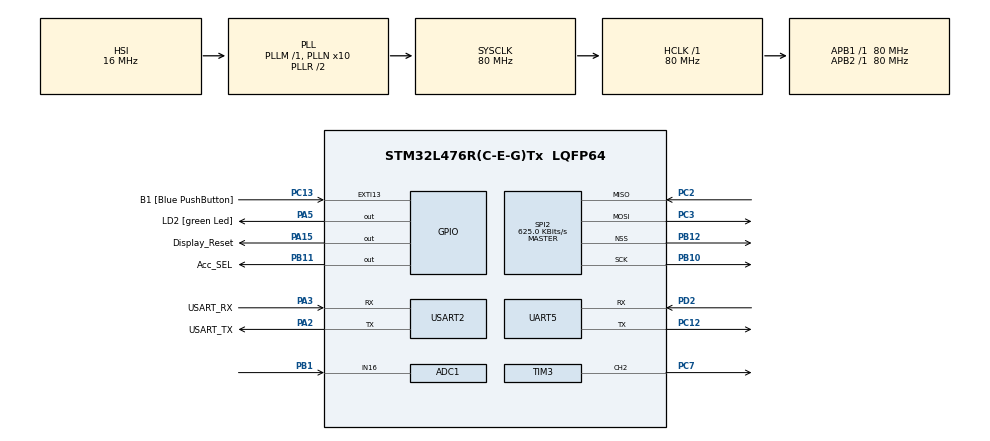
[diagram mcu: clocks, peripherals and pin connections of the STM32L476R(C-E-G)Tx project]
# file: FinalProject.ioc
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ADC1.Channel-0\#ChannelRegularConversion=ADC_CHANNEL_16
ADC1.NbrOfConversionFlag=1
ADC1.OffsetNumber-0\#ChannelRegularConversion=ADC_OFFSET_NONE
ADC1.Rank-0\#ChannelRegularConversion=1
ADC1.SamplingTime-0\#ChannelRegularConversion=ADC_SAMPLETIME_2CYCLES_5
ADC1.master=1
FREERTOS.Tasks01=defaultTask,24,128,StartDefaultTask,Default,NULL,Dynamic,NULL,NULL;clockUpdate,40,128,ClockUpdate,Default,NULL,Dynamic,NULL,NULL;backlightUpdate,8,128,BacklightUpdate,Default,NULL,Dynamic,NULL,NULL
Mcu.Family=STM32L4
Mcu.Name=STM32L476R(C-E-G)Tx
Mcu.Package=LQFP64
NVIC.PriorityGroup=NVIC_PRIORITYGROUP_4
NVIC.TIM1_UP_TIM16_IRQn=true\:15\:0\:false\:false\:true\:false\:false\:true
NVIC.TimeBase=TIM1_UP_TIM16_IRQn
NVIC.TimeBaseIP=TIM1
NVIC.UART5_IRQn=true\:5\:0\:false\:false\:true\:true\:true\:true
PA13\ (JTMS-SWDIO).GPIO_Label=TMS
PA13\ (JTMS-SWDIO).Mode=Serial_Wire
PA13\ (JTMS-SWDIO).Signal=SYS_JTMS-SWDIO
PA14\ (JTCK-SWCLK).GPIO_Label=TCK
PA14\ (JTCK-SWCLK).Mode=Serial_Wire
PA14\ (JTCK-SWCLK).Signal=SYS_JTCK-SWCLK
PA15\ (JTDI).GPIO_Label=Display_Reset
PA15\ (JTDI).PinState=GPIO_PIN_SET
PA15\ (JTDI).Signal=GPIO_Output
PA2.GPIO_Label=USART_TX
PA2.GPIO_Mode=GPIO_MODE_AF_PP
PA2.GPIO_PuPd=GPIO_NOPULL
PA2.GPIO_Speed=GPIO_SPEED_FREQ_VERY_HIGH
PA2.Mode=Asynchronous
PA2.Signal=USART2_TX
PA3.GPIO_Label=USART_RX
PA3.GPIO_Mode=GPIO_MODE_AF_PP
PA3.GPIO_PuPd=GPIO_NOPULL
PA3.GPIO_Speed=GPIO_SPEED_FREQ_VERY_HIGH
PA3.Mode=Asynchronous
PA3.Signal=USART2_RX
PA5.GPIO_Label=LD2 [green Led]
PA5.GPIO_ModeDefaultOutputPP=GPIO_MODE_OUTPUT_PP
PA5.GPIO_PuPd=GPIO_NOPULL
PA5.GPIO_Speed=GPIO_SPEED_FREQ_LOW
PA5.Signal=GPIO_Output
PB1.Signal=ADCx_IN16
PB10.Mode=Full_Duplex_Master
PB10.Signal=SPI2_SCK
PB11.GPIO_Label=Acc_SEL
PB11.GPIO_ModeDefaultOutputPP=GPIO_MODE_OUTPUT_PP
PB11.GPIO_PuPd=GPIO_NOPULL
PB11.Signal=GPIO_Output
PB12.Mode=NSS_Signal_Hard_Output
PB12.Signal=SPI2_NSS
PB3\ (JTDO-TRACESWO).GPIO_Label=SWO
PB3\ (JTDO-TRACESWO).Signal=SYS_JTDO-SWO
PC12.Mode=Asynchronous
PC12.Signal=UART5_TX
PC13.GPIO_Label=B1 [Blue PushButton]
PC13.GPIO_ModeDefaultEXTI=GPIO_MODE_IT_FALLING
PC13.GPIO_PuPd=GPIO_NOPULL
PC13.Signal=GPXTI13
PC14-OSC32_IN\ (PC14).Mode=LSE-External-Oscillator
PC14-OSC32_IN\ (PC14).Signal=RCC_OSC32_IN
PC15-OSC32_OUT\ (PC15).Mode=LSE-External-Oscillator
PC15-OSC32_OUT\ (PC15).Signal=RCC_OSC32_OUT
PC2.Mode=Full_Duplex_Master
PC2.Signal=SPI2_MISO
PC3.Mode=Full_Duplex_Master
PC3.Signal=SPI2_MOSI
PC7.Signal=S_TIM3_CH2
PD2.Mode=Asynchronous
PD2.Signal=UART5_RX
PH0-OSC_IN\ (PH0).Signal=RCC_OSC_IN
PH1-OSC_OUT\ (PH1).Signal=RCC_OSC_OUT
ProjectManager.HeapSize=0x200
ProjectManager.StackSize=0x400
ProjectManager.TargetToolchain=STM32CubeIDE
RCC.ADCFreq_Value=64000000
RCC.AHBFreq_Value=80000000
RCC.APB1Freq_Value=80000000
RCC.APB1TimFreq_Value=80000000
RCC.APB2Freq_Value=80000000
RCC.APB2TimFreq_Value=80000000
RCC.CortexFreq_Value=80000000
RCC.HCLKFreq_Value=80000000
RCC.HSE_VALUE=8000000
RCC.HSI_VALUE=16000000
RCC.MSI_VALUE=4000000
RCC.PLLN=10
RCC.PLLSourceVirtual=RCC_PLLSOURCE_HSI
RCC.PREFETCH_ENABLE=1
RCC.SYSCLKFreq_VALUE=80000000
RCC.SYSCLKSource=RCC_SYSCLKSOURCE_PLLCLK
RCC.USBFreq_Value=64000000
RCC.VCOOutputFreq_Value=160000000
SH.ADCx_IN16.0=ADC1_IN16,IN16-Single-Ended
SH.S_TIM3_CH2.0=TIM3_CH2,PWM Generation2 CH2
SPI2.BaudRatePrescaler=SPI_BAUDRATEPRESCALER_128
SPI2.CLKPhase=SPI_PHASE_2EDGE
SPI2.CLKPolarity=SPI_POLARITY_HIGH
SPI2.CalculateBaudRate=625.0 KBits/s
SPI2.DataSize=SPI_DATASIZE_8BIT
SPI2.Direction=SPI_DIRECTION_2LINES
SPI2.FirstBit=SPI_FIRSTBIT_LSB
SPI2.Mode=SPI_MODE_MASTER
SPI2.TIMode=SPI_TIMODE_DISABLE
SPI2.VirtualNSS=VM_NSSHARD
SPI2.VirtualType=VM_MASTER
TIM3.Channel-PWM\ Generation2\ CH2=TIM_CHANNEL_2
TIM3.Period=1041
TIM3.Prescaler=1279
TIM3.Pulse-PWM\ Generation2\ CH2=52
USART2.VirtualMode-Asynchronous=VM_ASYNC
VP_FREERTOS_VS_CMSIS_V2.Mode=CMSIS_V2
VP_RTC_VS_RTC_Activate.Mode=RTC_Enabled
VP_SYS_VS_tim1.Mode=TIM1
VP_TIM3_VS_ClockSourceINT.Mode=Internal
board=NUCLEO-L476RG

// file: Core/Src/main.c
/* USER CODE BEGIN Header */
/**
 ******************************************************************************
 * @file           : main.c
 * @brief          : Main program body
 ******************************************************************************
 * @attention
 *
 * <h2><center>&copy; Copyright (c) 2021 STMicroelectronics.
 * All rights reserved.</center></h2>
 *
 * This software component is licensed by ST under BSD 3-Clause license,
 * the "License"; You may not use this file except in compliance with the
 * License. You may obtain a copy of the License at:
 *                        opensource.org/licenses/BSD-3-Clause
 *
 ******************************************************************************
 */
/* USER CODE END Header */
#include "main.h"
#include "cmsis_os.h"
#include "adc.h"
#include "rtc.h"
#include "spi.h"
#include "tim.h"
#include "usart.h"
#include "gpio.h"

/* USER CODE BEGIN Includes */
#include "display.h"
#include "timestring.h"
#include "backlight.h"
#include "stdio.h"
#include "math.h"
#include "string.h"

//#define RUN_TEST

#ifdef RUN_TEST
#include "test/test_uart.h"
#include "test/test_spi.h"
#include "test/test_rtc.h"
#include "test/test_pwm.h"
#include "test/test_display.h"
#include "test/test_timestring.h"
#include "test/test_adc.h"
#include "test/test_potentiometer.h"
#include "test/test_backlight.h"
#endif
/* USER CODE END Includes */

void SystemClock_Config(void);
void MX_FREERTOS_Init(void);

/* USER CODE BEGIN 0 */
int _write(int file, char *ptr, int len) {
	int DataIdx;

	for (DataIdx = 0; DataIdx < len; DataIdx++) {
		ITM_SendChar(*ptr++);
	}
	return len;
}

uint32_t last_tick = 0;

/* USER CODE END 0 */

int main(void) {

	/* MCU Configuration--------------------------------------------------------*/

	/* Reset of all peripherals, Initializes the Flash interface and the Systick. */
	HAL_Init();

	/* USER CODE BEGIN Init */
	printf("\n");
	/* USER CODE END Init */

	/* Configure the system clock */
	SystemClock_Config();

	/* Initialize all configured peripherals */
	MX_GPIO_Init();
	MX_USART2_UART_Init();
	MX_UART5_Init();
	MX_RTC_Init();
	MX_SPI2_Init();
	MX_TIM3_Init();
	MX_ADC1_Init();
	/* USER CODE BEGIN 2 */
#ifdef RUN_TEST
	test_uart();
	test_spi();
	test_timestring(); // Add the MOCK_UART symbol under Project->Properties->C/C++ Build->Settings->MCU GCC Compiler->Preprocessor to a mock for UART
	test_rtc();
	test_pwm();
	test_display();
  	test_adc();
  	test_potentiometer();
  	test_backlight();
  	while(1); // don't run rest of program
#endif
	/* Startup procedure */

  	// Initialize display
	display_init();
	display_clear();

	// Initialize backlight
	backlight_on();

	// Prompt user for a timestring
	uint8_t *str = "Send";
	uint8_t *str3 = "timestring.";
	display_write(str, strlen(str), 1, 1);
	display_write(str3, strlen(str3), 2, 1);

	/* Get user timestring */
	timestring user_timestring;
	while (get_user_timestring(&user_timestring) != TIMESTRING_OK) {
		// Display that timestring was incorrect
		uint8_t *str2 = "Incorrect";
		display_write(str2, strlen(str2), 1, 1);

		// Prompt for another timestring
		uint8_t *str3 = "Try again";
		display_write(str3, strlen(str3), 3, 1);
	}
	display_clear();

	// Initialize RTC clock with correct timestring
	rtc_set_time_from_timestring(&user_timestring);

	// Then we start the RTOS
	/* USER CODE END 2 */

	/* Init scheduler */
	osKernelInitialize(); /* Call init function for freertos objects (in freertos.c) */
	MX_FREERTOS_Init();
	/* Start scheduler */
	osKernelStart();

	/* We should never get here as control is now taken by the scheduler */
	/* Infinite loop */
	/* USER CODE BEGIN WHILE */
	/* Start program */
	while (1) {
		/* USER CODE END WHILE */

	}
}

void SystemClock_Config(void) {
	RCC_OscInitTypeDef RCC_OscInitStruct = { 0 };
	RCC_ClkInitTypeDef RCC_ClkInitStruct = { 0 };

	/** Configure the main internal regulator output voltage
	 */
	if (HAL_PWREx_ControlVoltageScaling(PWR_REGULATOR_VOLTAGE_SCALE1)
			!= HAL_OK) {
		Error_Handler();
	}
	/** Initializes the RCC Oscillators according to the specified parameters
	 * in the RCC_OscInitTypeDef structure.
	 */
	RCC_OscInitStruct.OscillatorType = RCC_OSCILLATORTYPE_HSI
			| RCC_OSCILLATORTYPE_LSI;
	RCC_OscInitStruct.HSIState = RCC_HSI_ON;
	RCC_OscInitStruct.HSICalibrationValue = RCC_HSICALIBRATION_DEFAULT;
	RCC_OscInitStruct.LSIState = RCC_LSI_ON;
	RCC_OscInitStruct.PLL.PLLState = RCC_PLL_ON;
	RCC_OscInitStruct.PLL.PLLSource = RCC_PLLSOURCE_HSI;
	RCC_OscInitStruct.PLL.PLLM = 1;
	RCC_OscInitStruct.PLL.PLLN = 10;
	RCC_OscInitStruct.PLL.PLLP = RCC_PLLP_DIV7;
	RCC_OscInitStruct.PLL.PLLQ = RCC_PLLQ_DIV2;
	RCC_OscInitStruct.PLL.PLLR = RCC_PLLR_DIV2;
	if (HAL_RCC_OscConfig(&RCC_OscInitStruct) != HAL_OK) {
		Error_Handler();
	}
	/** Initializes the CPU, AHB and APB buses clocks
	 */
	RCC_ClkInitStruct.ClockType = RCC_CLOCKTYPE_HCLK | RCC_CLOCKTYPE_SYSCLK
			| RCC_CLOCKTYPE_PCLK1 | RCC_CLOCKTYPE_PCLK2;
	RCC_ClkInitStruct.SYSCLKSource = RCC_SYSCLKSOURCE_PLLCLK;
	RCC_ClkInitStruct.AHBCLKDivider = RCC_SYSCLK_DIV1;
	RCC_ClkInitStruct.APB1CLKDivider = RCC_HCLK_DIV1;
	RCC_ClkInitStruct.APB2CLKDivider = RCC_HCLK_DIV1;

	if (HAL_RCC_ClockConfig(&RCC_ClkInitStruct, FLASH_LATENCY_4) != HAL_OK) {
		Error_Handler();
	}
}

void HAL_TIM_PeriodElapsedCallback(TIM_HandleTypeDef *htim) {
	if (htim->Instance == TIM1) {
		HAL_IncTick();
	}
}

void Error_Handler(void) {
	__disable_irq();
	while (1) {
	}
}

/************************ (C) COPYRIGHT STMicroelectronics *****END OF FILE****/

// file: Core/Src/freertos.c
/* USER CODE BEGIN Header */
/**
  ******************************************************************************
  * File Name          : freertos.c
  * Description        : Code for freertos applications
  ******************************************************************************
  * @attention
  *
  * <h2><center>&copy; Copyright (c) 2021 STMicroelectronics.
  * All rights reserved.</center></h2>
  *
  * This software component is licensed by ST under Ultimate Liberty license
  * SLA0044, the "License"; You may not use this file except in compliance with
  * the License. You may obtain a copy of the License at:
  *                             www.st.com/SLA0044
  *
  ******************************************************************************
  */
/* USER CODE END Header */

#include "FreeRTOS.h"
#include "task.h"
#include "main.h"
#include "cmsis_os.h"

/* USER CODE BEGIN Includes */
#include "timestring.h"
#include "display.h"
#include "backlight.h"
/* USER CODE END Includes */

/* Definitions for defaultTask */
osThreadId_t defaultTaskHandle;
const osThreadAttr_t defaultTask_attributes = {
  .name = "defaultTask",
  .stack_size = 128 * 4,
  .priority = (osPriority_t) osPriorityNormal,
};
/* Definitions for clockUpdate */
osThreadId_t clockUpdateHandle;
const osThreadAttr_t clockUpdate_attributes = {
  .name = "clockUpdate",
  .stack_size = 128 * 4,
  .priority = (osPriority_t) osPriorityHigh,
};
/* Definitions for backlightUpdate */
osThreadId_t backlightUpdateHandle;
const osThreadAttr_t backlightUpdate_attributes = {
  .name = "backlightUpdate",
  .stack_size = 128 * 4,
  .priority = (osPriority_t) osPriorityLow,
};

void StartDefaultTask(void *argument);
void ClockUpdate(void *argument);
void BacklightUpdate(void *argument);

void MX_FREERTOS_Init(void); /* (MISRA C 2004 rule 8.1) */

void MX_FREERTOS_Init(void) {

  /* Create the thread(s) */
  /* creation of defaultTask */
  defaultTaskHandle = osThreadNew(StartDefaultTask, NULL, &defaultTask_attributes);

  /* creation of clockUpdate */
  clockUpdateHandle = osThreadNew(ClockUpdate, NULL, &clockUpdate_attributes);

  /* creation of backlightUpdate */
  backlightUpdateHandle = osThreadNew(BacklightUpdate, NULL, &backlightUpdate_attributes);

}

void StartDefaultTask(void *argument)
{
  for(;;)
  {
    osDelay(1);
  }
}

void ClockUpdate(void *argument)
{
  /* USER CODE BEGIN ClockUpdate */
  const TickType_t xPeriod = pdMS_TO_TICKS(1000);

  timestring clock_timestring;

  TickType_t xLastWakeTime = xTaskGetTickCount();
	/* Infinite loop */
  for(;;)
  {
	  vTaskDelayUntil(&xLastWakeTime, xPeriod);

	  timestring_get_clock_time(&clock_timestring);
	  display_write(clock_timestring, 8, 1, 1);
  }
  /* USER CODE END ClockUpdate */
}

void BacklightUpdate(void *argument)
{
  /* USER CODE BEGIN BacklightUpdate */
  const TickType_t xPeriod = pdMS_TO_TICKS(30);

  TickType_t xLastWakeTime = xTaskGetTickCount();
  /* Infinite loop */
  for(;;)
  {
	  vTaskDelayUntil(&xLastWakeTime, xPeriod);

	  backlight_update_brightness();
  }
  /* USER CODE END BacklightUpdate */
}

/************************ (C) COPYRIGHT STMicroelectronics *****END OF FILE****/
